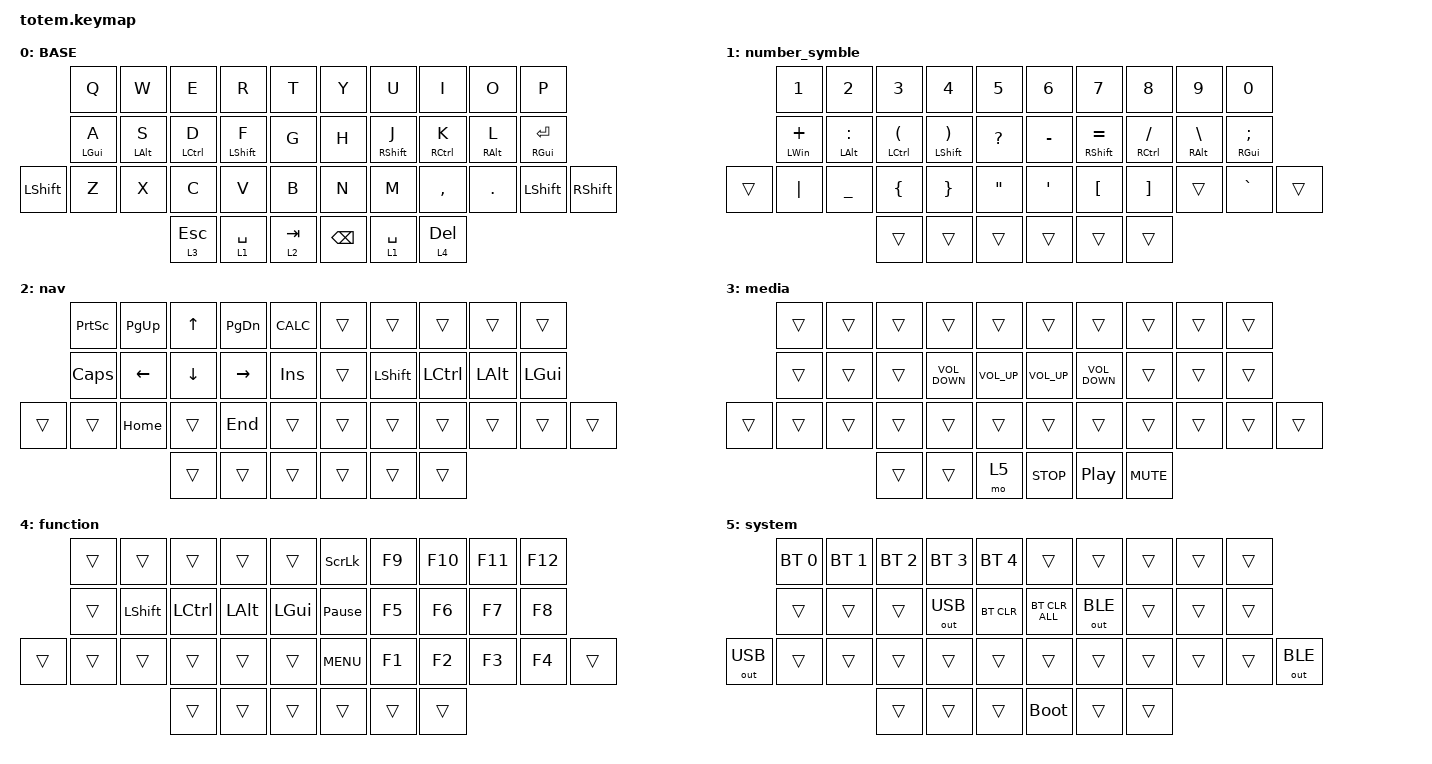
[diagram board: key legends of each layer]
//
//                                                        ▀▀▀▀▀     ▀▀▀▀▀          ▀▀█▀▀
//                                                        ▄▀▀▀▄  ▄  ▄▀▀▀▄  ▄  ▄▀▀▀▄  █  ▄▀▀▀▄
//                                                        █   █  █  █   █  █  █   █  █  █   █
//                                                         ▀▀▀   █   ▀▀▀   █   ▀▀▀   ▀   ▀▀▀
//                                                               █      ▄▄▄█▄▄▄    █   █  
//                                                               ▀      █  █  █     █▄█
//                                                             ▀▀▀▀▀    █  █  █      ▀
//                                                                      ▀  ▀  ▀
//
// ▄▄▄▄▄▄▄▄▄▄▄▄▄▄▄▄▄▄▄▄▄▄▄▄▄▄▄▄▄▄▄▄▄▄▄▄▄▄▄▄▄▄▄▄▄▄▄▄▄▄▄▄▄▄▄▄▄▄▄▄▄▄▄▄▄▄▄▄▄▄▄▄▄▄▄▄▄▄▄▄▄▄▄▄▄▄▄▄▄▄▄▄▄▄▄▄▄▄▄▄▄▄▄▄▄▄▄▄▄▄▄▄▄▄▄▄▄▄▄▄▄▄▄▄▄▄▄▄▄▄▄▄▄▄▄▄▄▄▄▄▄▄▄▄▄▄▄▄▄

#include <behaviors.dtsi>
#include <dt-bindings/zmk/bt.h>
#include <dt-bindings/zmk/keys.h>
#include <dt-bindings/zmk/outputs.h>

#define BASE 0
#define NAV  1
#define SYM  2
#define ADJ  3
#define TVP1 4
#define TVP2 5

&mt {
    quick-tap-ms = <100>;
    flavor = "tap-preferred";
    tapping-term-ms = <200>;
};

&caps_word {
};

/ {
    combos {
        compatible = "zmk,combos";

        caps_words {
            bindings = <&caps_word>;
            key-positions = <13 16>;
        };
    };

    macros {
        gif: gif {
            label = "giphy";
            compatible = "zmk,behavior-macro";
            #binding-cells = <0>;
            bindings =
                <&macro_press>,
                <&kp LSHFT>,
                <&macro_tap>,
                <&kp N2>,
                <&macro_release>,
                <&kp LSHFT>,
                <&macro_tap>,
                <&kp G &kp I &kp F>;
        };
    };

    keymap {
        compatible = "zmk,keymap";

        // ▄▄▄▄▄▄▄▄▄▄▄▄▄▄▄▄▄▄▄▄▄▄▄▄▄▄▄▄▄▄▄▄▄▄▄▄▄▄▄▄▄▄▄▄▄▄▄▄▄▄▄▄▄▄▄▄▄▄▄▄▄▄▄▄▄▄▄▄▄▄▄▄▄▄▄▄▄▄▄▄▄▄▄▄▄▄▄▄▄▄▄▄▄▄▄▄▄▄▄▄▄▄▄▄▄▄▄▄▄▄▄▄▄▄▄▄▄▄▄▄▄▄▄▄▄▄▄▄▄▄▄▄▄▄▄▄▄▄▄▄▄▄▄▄▄▄▄▄▄

        base_layer {
            // ┏━━━━━━━━━━━━━━━━━━━━━━━━━━━━━━━━━━━━━━━┓

            label = "BASE";

            // ┗━━━━━━━━━━━━━━━━━━━━━━━━━━━━━━━━━━━━━━━┛
            //             ┏━━━━━━━━━━━┳━━━━━━━━━━━┳━━━━━━━━━━━┳━━━━━━━━━━━┳━━━━━━━━━━━┓   ┏━━━━━━━━━━━┳━━━━━━━━━━━┳━━━━━━━━━━━┳━━━━━━━━━━━┳━━━━━━━━━━━┓
            //             ┃     Q     ┃     W     ┃     F     ┃     P     ┃     G     ┃   ┃     J     ┃     L     ┃     U     ┃     Y     ┃     ;     ┃
            //             ┣━━━━━━━━━━━╋━━━━━━━━━━━╋━━━━━━━━━━━╋━━━━━━━━━━━╋━━━━━━━━━━━┫   ┣━━━━━━━━━━━╋━━━━━━━━━━━╋━━━━━━━━━━━╋━━━━━━━━━━━╋━━━━━━━━━━━┫
            //             ┃     A     ┃     R     ┃     S     ┃     T     ┃     D     ┃   ┃     H     ┃     N     ┃     E     ┃     I     ┃     O     ┃
            // ┏━━━━━━━━━━━╋━━━━━━━━━━━╋━━━━━━━━━━━╋━━━━━━━━━━━╋━━━━━━━━━━━╋━━━━━━━━━━━┫   ┣━━━━━━━━━━━╋━━━━━━━━━━━╋━━━━━━━━━━━╋━━━━━━━━━━━╋━━━━━━━━━━━╋━━━━━━━━━━━┓
            // ┃     Q     ┃     Z     ┃     X     ┃     C     ┃     V     ┃     B     ┃   ┃     K     ┃     M     ┃     ,     ┃     .     ┃     /     ┃     \     ┃
            // ┗━━━━━━━━━━━┻━━━━━━━━━━━┻━━━━━━━━━━━╋━━━━━━━━━━━╋━━━━━━━━━━━╋━━━━━━━━━━━┫   ┣━━━━━━━━━━━╋━━━━━━━━━━━╋━━━━━━━━━━━╋━━━━━━━━━━━┻━━━━━━━━━━━┻━━━━━━━━━━━┛
            //                                     ┃    DEL    ┃    TAB    ┃    SPC    ┃   ┃   ENTER   ┃           ┃   BSPC    ┃
            //                                     ┗━━━━━━━━━━━┻━━━━━━━━━━━┻━━━━━━━━━━━┛   ┗━━━━━━━━━━━┻━━━━━━━━━━━┻━━━━━━━━━━━┛

            bindings = <
                &kp Q       &kp W       &kp E         &kp R        &kp T        &kp Y          &kp U        &kp I         &kp O       &kp P
                &mt LGUI A  &mt LALT S  &mt LCTRL D   &mt LSHFT F  &kp G        &kp H          &mt RSHFT J  &mt RCTRL K   &mt RALT L  &mt RGUI ENTER
&kp LEFT_SHIFT  &kp Z       &kp X       &kp C         &kp V        &kp B        &kp N          &kp M        &kp COMMA     &kp DOT     &kp LEFT_SHIFT  &kp RSHIFT
                                        &lt 3 ESCAPE  &lt 1 SPACE  &lt 2 TAB    &kp BACKSPACE  &lt 1 SPACE  &lt 4 DELETE
            >;
        };

        number_symble {
            bindings = <
        &kp NUMBER_1   &kp NUMBER_2    &kp NUMBER_3                &kp NUMBER_4                      &kp NUMBER_5         &kp NUMBER_6      &kp NUMBER_7      &kp NUMBER_8       &kp NUMBER_9        &kp NUMBER_0
        &mt LWIN PLUS  &mt LALT COLON  &mt LCTRL LEFT_PARENTHESIS  &mt LEFT_SHIFT RIGHT_PARENTHESIS  &kp QUESTION         &kp MINUS         &mt RSHFT EQUAL   &mt RCTRL SLASH    &mt RALT BACKSLASH  &mt RGUI SEMICOLON
&trans  &kp PIPE       &kp UNDERSCORE  &kp LEFT_BRACE              &kp RIGHT_BRACE                   &kp DOUBLE_QUOTES    &kp SINGLE_QUOTE  &kp LEFT_BRACKET  &kp RIGHT_BRACKET  &trans              &kp GRAVE           &trans
                                       &trans                      &trans                            &trans               &trans            &trans            &trans
            >;
        };

        nav {
            bindings = <
        &kp PRINTSCREEN  &kp PG_UP  &kp UP    &kp PG_DN  &kp K_CALC    &trans  &trans     &trans     &trans    &trans
        &kp CAPSLOCK     &kp LEFT   &kp DOWN  &kp RIGHT  &kp INSERT    &trans  &kp LSHFT  &kp LCTRL  &kp LALT  &kp LGUI
&trans  &trans           &kp HOME   &trans    &kp END    &trans        &trans  &trans     &trans     &trans    &trans    &trans
                                    &trans    &trans     &trans        &trans  &trans     &trans
            >;
        };

        media {
            bindings = <
        &trans  &trans  &trans  &trans             &trans             &trans           &trans             &trans      &trans  &trans
        &trans  &trans  &trans  &kp C_VOLUME_DOWN  &kp C_VOLUME_UP    &kp C_VOLUME_UP  &kp C_VOLUME_DOWN  &trans      &trans  &trans
&trans  &trans  &trans  &trans  &trans             &trans             &trans           &trans             &trans      &trans  &trans  &trans
                        &trans  &trans             &mo 5              &kp C_STOP       &kp C_PLAY_PAUSE   &kp K_MUTE
            >;
        };

        function {
            bindings = <
        &trans  &trans     &trans     &trans    &trans      &kp SCROLLLOCK   &kp F9  &kp F10  &kp F11  &kp F12
        &trans  &kp LSHFT  &kp LCTRL  &kp LALT  &kp LGUI    &kp PAUSE_BREAK  &kp F5  &kp F6   &kp F7   &kp F8
&trans  &trans  &trans     &trans     &trans    &trans      &kp C_MENU       &kp F1  &kp F2   &kp F3   &kp F4   &trans
                           &trans     &trans    &trans      &trans           &trans  &trans
            >;
        };

        system {
            bindings = <
              &bt BT_SEL 0  &bt BT_SEL 1  &bt BT_SEL 2  &bt BT_SEL 3  &bt BT_SEL 4    &trans          &trans        &trans  &trans  &trans
              &trans        &trans        &trans        &out OUT_USB  &bt BT_CLR      &bt BT_CLR_ALL  &out OUT_BLE  &trans  &trans  &trans
&out OUT_USB  &trans        &trans        &trans        &trans        &trans          &trans          &trans        &trans  &trans  &trans  &out OUT_BLE
                                          &trans        &trans        &trans          &bootloader     &trans        &trans
            >;
        };
    };
};
